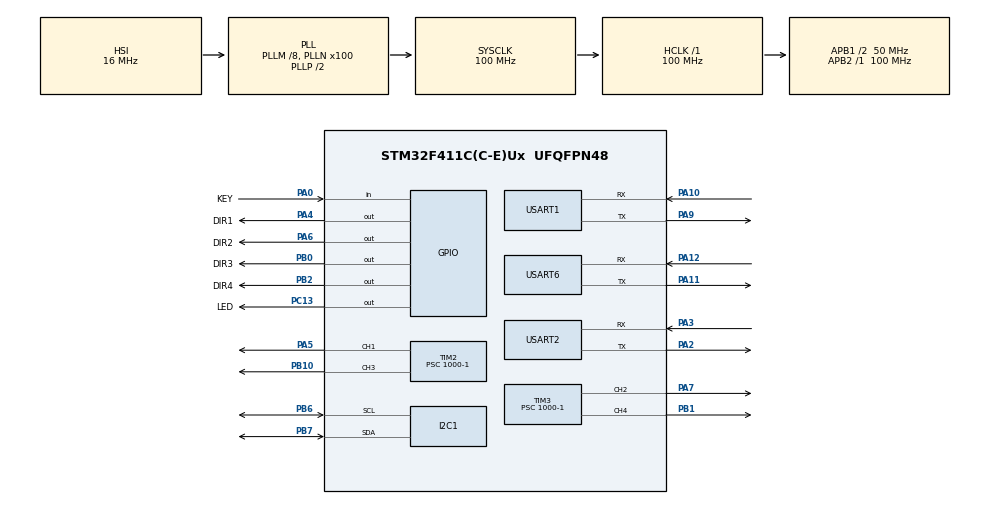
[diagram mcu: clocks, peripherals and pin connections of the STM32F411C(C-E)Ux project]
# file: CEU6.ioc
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Dma.Request0=USART2_RX
Dma.Request1=USART1_RX
Dma.Request2=USART6_RX
Dma.USART1_RX.1.Direction=DMA_PERIPH_TO_MEMORY
Dma.USART1_RX.1.FIFOMode=DMA_FIFOMODE_DISABLE
Dma.USART1_RX.1.Instance=DMA2_Stream2
Dma.USART1_RX.1.MemDataAlignment=DMA_MDATAALIGN_BYTE
Dma.USART1_RX.1.MemInc=DMA_MINC_ENABLE
Dma.USART1_RX.1.Mode=DMA_NORMAL
Dma.USART1_RX.1.PeriphDataAlignment=DMA_PDATAALIGN_BYTE
Dma.USART1_RX.1.PeriphInc=DMA_PINC_DISABLE
Dma.USART1_RX.1.Priority=DMA_PRIORITY_LOW
Dma.USART2_RX.0.Direction=DMA_PERIPH_TO_MEMORY
Dma.USART2_RX.0.FIFOMode=DMA_FIFOMODE_DISABLE
Dma.USART2_RX.0.Instance=DMA1_Stream5
Dma.USART2_RX.0.MemDataAlignment=DMA_MDATAALIGN_BYTE
Dma.USART2_RX.0.MemInc=DMA_MINC_ENABLE
Dma.USART2_RX.0.Mode=DMA_CIRCULAR
Dma.USART2_RX.0.PeriphDataAlignment=DMA_PDATAALIGN_BYTE
Dma.USART2_RX.0.PeriphInc=DMA_PINC_DISABLE
Dma.USART2_RX.0.Priority=DMA_PRIORITY_LOW
Dma.USART6_RX.2.Direction=DMA_PERIPH_TO_MEMORY
Dma.USART6_RX.2.FIFOMode=DMA_FIFOMODE_DISABLE
Dma.USART6_RX.2.Instance=DMA2_Stream1
Dma.USART6_RX.2.MemDataAlignment=DMA_MDATAALIGN_BYTE
Dma.USART6_RX.2.MemInc=DMA_MINC_ENABLE
Dma.USART6_RX.2.Mode=DMA_CIRCULAR
Dma.USART6_RX.2.PeriphDataAlignment=DMA_PDATAALIGN_BYTE
Dma.USART6_RX.2.PeriphInc=DMA_PINC_DISABLE
Dma.USART6_RX.2.Priority=DMA_PRIORITY_LOW
Mcu.Family=STM32F4
Mcu.Name=STM32F411C(C-E)Ux
Mcu.Package=UFQFPN48
NVIC.DMA1_Stream5_IRQn=true\:0\:0\:false\:false\:true\:false\:true
NVIC.DMA2_Stream1_IRQn=true\:0\:0\:false\:false\:true\:false\:true
NVIC.DMA2_Stream2_IRQn=true\:0\:0\:false\:false\:true\:false\:true
NVIC.PriorityGroup=NVIC_PRIORITYGROUP_4
NVIC.USART1_IRQn=true\:1\:0\:true\:false\:true\:true\:true
NVIC.USART2_IRQn=true\:1\:0\:true\:false\:true\:true\:true
NVIC.USART6_IRQn=true\:0\:0\:false\:false\:true\:true\:true
PA0-WKUP.GPIO_Label=KEY
PA0-WKUP.GPIO_PuPd=GPIO_PULLUP
PA0-WKUP.Signal=GPIO_Input
PA10.GPIO_PuPd=GPIO_PULLUP
PA10.Mode=Asynchronous
PA10.Signal=USART1_RX
PA11.Mode=Asynchronous
PA11.Signal=USART6_TX
PA12.GPIO_PuPd=GPIO_PULLUP
PA12.Mode=Asynchronous
PA12.Signal=USART6_RX
PA13.Mode=Serial_Wire
PA13.Signal=SYS_JTMS-SWDIO
PA14.Mode=Serial_Wire
PA14.Signal=SYS_JTCK-SWCLK
PA2.Mode=Asynchronous
PA2.Signal=USART2_TX
PA3.GPIO_PuPd=GPIO_PULLUP
PA3.Mode=Asynchronous
PA3.Signal=USART2_RX
PA4.GPIO_Label=DIR1
PA4.GPIO_PuPd=GPIO_PULLDOWN
PA4.Signal=GPIO_Output
PA5.Signal=S_TIM2_CH1_ETR
PA6.GPIO_Label=DIR2
PA6.GPIO_PuPd=GPIO_PULLDOWN
PA6.Signal=GPIO_Output
PA7.Signal=S_TIM3_CH2
PA9.Mode=Asynchronous
PA9.Signal=USART1_TX
PB0.GPIO_Label=DIR3
PB0.GPIO_PuPd=GPIO_PULLDOWN
PB0.Signal=GPIO_Output
PB1.Signal=S_TIM3_CH4
PB10.Signal=S_TIM2_CH3
PB2.GPIO_Label=DIR4
PB2.GPIO_PuPd=GPIO_PULLDOWN
PB2.Signal=GPIO_Output
PB6.Mode=I2C
PB6.Signal=I2C1_SCL
PB7.Mode=I2C
PB7.Signal=I2C1_SDA
PC13-ANTI_TAMP.GPIO_Label=LED
PC13-ANTI_TAMP.GPIO_PuPd=GPIO_PULLUP
PC13-ANTI_TAMP.PinState=GPIO_PIN_SET
PC13-ANTI_TAMP.Signal=GPIO_Output
PC14-OSC32_IN.Mode=LSE-External-Oscillator
PC14-OSC32_IN.Signal=RCC_OSC32_IN
PC15-OSC32_OUT.Mode=LSE-External-Oscillator
PC15-OSC32_OUT.Signal=RCC_OSC32_OUT
PH0\ -\ OSC_IN.Mode=HSE-External-Oscillator
PH0\ -\ OSC_IN.Signal=RCC_OSC_IN
PH1\ -\ OSC_OUT.Mode=HSE-External-Oscillator
PH1\ -\ OSC_OUT.Signal=RCC_OSC_OUT
ProjectManager.HeapSize=0x200
ProjectManager.StackSize=0x400
ProjectManager.TargetToolchain=MDK-ARM V5.32
RCC.48MHZClocksFreq_Value=50000000
RCC.AHBFreq_Value=100000000
RCC.APB1CLKDivider=RCC_HCLK_DIV2
RCC.APB1Freq_Value=50000000
RCC.APB1TimFreq_Value=100000000
RCC.APB2Freq_Value=100000000
RCC.APB2TimFreq_Value=100000000
RCC.CortexFreq_Value=100000000
RCC.HCLKFreq_Value=100000000
RCC.HSE_VALUE=25000000
RCC.HSI_VALUE=16000000
RCC.PLLM=8
RCC.PLLN=100
RCC.SYSCLKFreq_VALUE=100000000
RCC.SYSCLKSource=RCC_SYSCLKSOURCE_PLLCLK
RCC.VCOOutputFreq_Value=200000000
SH.S_TIM2_CH1_ETR.0=TIM2_CH1,PWM Generation1 CH1
SH.S_TIM2_CH3.0=TIM2_CH3,PWM Generation3 CH3
SH.S_TIM3_CH2.0=TIM3_CH2,PWM Generation2 CH2
SH.S_TIM3_CH4.0=TIM3_CH4,PWM Generation4 CH4
TIM2.Channel-PWM\ Generation1\ CH1=TIM_CHANNEL_1
TIM2.Channel-PWM\ Generation3\ CH3=TIM_CHANNEL_3
TIM2.Period=1000-1
TIM2.Prescaler=1000-1
TIM3.Channel-PWM\ Generation2\ CH2=TIM_CHANNEL_2
TIM3.Channel-PWM\ Generation4\ CH4=TIM_CHANNEL_4
TIM3.Period=1000-1
TIM3.Prescaler=1000-1
USART1.VirtualMode=VM_ASYNC
USART2.VirtualMode=VM_ASYNC
USART6.VirtualMode=VM_ASYNC
VP_TIM2_VS_ClockSourceINT.Mode=Internal
board=custom

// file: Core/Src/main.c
/* USER CODE BEGIN Header */
/**
  ******************************************************************************
  * @file           : main.c
  * @brief          : Main program body
  ******************************************************************************
  * @attention
  *
  * Copyright (c) 2022 STMicroelectronics.
  * All rights reserved.
  *
  * This software is licensed under terms that can be found in the LICENSE file
  * in the root directory of this software component.
  * If no LICENSE file comes with this software, it is provided AS-IS.
  *
  ******************************************************************************
  */
/* USER CODE END Header */
#include "main.h"
#include "dma.h"
#include "i2c.h"
#include "tim.h"
#include "usart.h"
#include "gpio.h"

/* USER CODE BEGIN Includes */
#include "sys.h"
#include "oled.h"
#include "esp01s.h"
#include "jansson.h"
#include "motor_42.h"
/* USER CODE END Includes */

/* USER CODE BEGIN PV */
extern uint8_t usart2_rx_flag;          //接收中断标志位
extern uint8_t usart6_rx_flag;          //接收中断标志位

extern uint8_t tx2_buff[255];
extern uint8_t tx6_buff[255];

extern uint8_t rx2_buff[255];
extern uint8_t rx6_buff[255];

//json解析与数据
json_error_t error;
json_t *root;
char *result;
uint16_t temp[2] = {0,0},humi[2] = {0,0},lux[2] = {0,0};
/* USER CODE END PV */

void SystemClock_Config(void);

int main(void)
{
  /* USER CODE BEGIN 1 */
	char data[128];
	uint8_t nc1 = 2,nc2 = 2,nc3 = 2;
	uint8_t nc1_sta = 0,nc2_sta = 0,nc3_sta = 0;
  /* USER CODE END 1 */

  /* MCU Configuration--------------------------------------------------------*/

  /* Reset of all peripherals, Initializes the Flash interface and the Systick. */
  HAL_Init();

  /* Configure the system clock */
  SystemClock_Config();

  /* Initialize all configured peripherals */
  MX_GPIO_Init();
  MX_DMA_Init();
  MX_USART1_UART_Init();
  MX_USART2_UART_Init();
  MX_I2C1_Init();
  MX_USART6_UART_Init();
  MX_TIM2_Init();
  MX_TIM3_Init();
  /* USER CODE BEGIN 2 */
	Motor_init();
	delay_init(100);
	MU_USART_init();
	OLED_Init();
	OLED_ShowString(0, 0, "     Control    ", 16);

  /* USER CODE END 2 */

  /* Infinite loop */
  /* USER CODE BEGIN WHILE */
  while (1)
  {
		if(usart6_rx_flag == 1)
		{
			usart6_rx_flag = 0;
			if		 (strstr((char*)rx6_buff, "nc10"))nc1 = 0;
			else if(strstr((char*)rx6_buff, "nc11"))nc1 = 1;
			else if(strstr((char*)rx6_buff, "nc20"))nc2 = 0;
			else if(strstr((char*)rx6_buff, "nc21"))nc2 = 1;
			else if(strstr((char*)rx6_buff, "nc30"))nc3 = 0;
			else if(strstr((char*)rx6_buff, "nc31"))nc3 = 1;
			memset(rx6_buff,0,sizeof(rx6_buff));
		}
		sprintf(data,"N1:%d N2:%d N3:%d  ",nc1,nc2,nc3);
		OLED_ShowString(0,2,data,16);
		memset(data,0,sizeof(data));

		sprintf(data,"S1:%d S2:%d S3:%d  ",nc1_sta,nc2_sta,nc3_sta);
		OLED_ShowString(0,4,data,16);
		memset(data,0,sizeof(data));
		if(nc1 == 0)
		{
			if(nc1_sta != 0)
			{
				nc1_sta = 0;
				Motor_state(1,1,1);
				delay_ms(5000);
				Motor_state(1,1,0);
			}nc1 = 2;
		}else if(nc1 == 1)
		{
			if(nc1_sta != 1)
			{
				nc1_sta = 1;
				Motor_state(1,0,1);
				delay_ms(5000);
				Motor_state(1,0,0);
			}nc1 = 2;
		}

		if			(nc2 == 0)
		{
			if(nc2_sta != 0)
			{
				nc2_sta = 0;
				Motor_state(2,1,1);
				delay_ms(5000);
				Motor_state(2,1,0);
			}nc2 = 2;
		}else if(nc2 == 1)
		{
			if(nc2_sta != 1)
			{
				nc2_sta = 1;
				Motor_state(2,0,1);
				delay_ms(5000);
				Motor_state(2,0,0);
			}nc2 = 2;
		}

		if(nc3 == 0)
		{
			if(nc3_sta != 0)
			{
				nc3_sta = 0;
				Motor_state(3,1,1);
				delay_ms(5000);
				Motor_state(3,1,0);
			}nc3 = 2;
		}else if(nc3 == 1)
		{
			if(nc3_sta != 1)
			{
				nc3_sta = 1;
				Motor_state(3,0,1);
				delay_ms(5000);
				Motor_state(3,0,0);
			}nc3 = 2;
		}

    /* USER CODE END WHILE */

  }
}

void SystemClock_Config(void)
{
  RCC_OscInitTypeDef RCC_OscInitStruct = {0};
  RCC_ClkInitTypeDef RCC_ClkInitStruct = {0};

  /** Configure the main internal regulator output voltage
  */
  __HAL_RCC_PWR_CLK_ENABLE();
  __HAL_PWR_VOLTAGESCALING_CONFIG(PWR_REGULATOR_VOLTAGE_SCALE1);
  /** Initializes the RCC Oscillators according to the specified parameters
  * in the RCC_OscInitTypeDef structure.
  */
  RCC_OscInitStruct.OscillatorType = RCC_OSCILLATORTYPE_HSI;
  RCC_OscInitStruct.HSIState = RCC_HSI_ON;
  RCC_OscInitStruct.HSICalibrationValue = RCC_HSICALIBRATION_DEFAULT;
  RCC_OscInitStruct.PLL.PLLState = RCC_PLL_ON;
  RCC_OscInitStruct.PLL.PLLSource = RCC_PLLSOURCE_HSI;
  RCC_OscInitStruct.PLL.PLLM = 8;
  RCC_OscInitStruct.PLL.PLLN = 100;
  RCC_OscInitStruct.PLL.PLLP = RCC_PLLP_DIV2;
  RCC_OscInitStruct.PLL.PLLQ = 4;
  if (HAL_RCC_OscConfig(&RCC_OscInitStruct) != HAL_OK)
  {
    Error_Handler();
  }
  /** Initializes the CPU, AHB and APB buses clocks
  */
  RCC_ClkInitStruct.ClockType = RCC_CLOCKTYPE_HCLK|RCC_CLOCKTYPE_SYSCLK
                              |RCC_CLOCKTYPE_PCLK1|RCC_CLOCKTYPE_PCLK2;
  RCC_ClkInitStruct.SYSCLKSource = RCC_SYSCLKSOURCE_PLLCLK;
  RCC_ClkInitStruct.AHBCLKDivider = RCC_SYSCLK_DIV1;
  RCC_ClkInitStruct.APB1CLKDivider = RCC_HCLK_DIV2;
  RCC_ClkInitStruct.APB2CLKDivider = RCC_HCLK_DIV1;

  if (HAL_RCC_ClockConfig(&RCC_ClkInitStruct, FLASH_LATENCY_3) != HAL_OK)
  {
    Error_Handler();
  }
}

void Error_Handler(void)
{
  __disable_irq();
  while (1)
  {
  }
}
